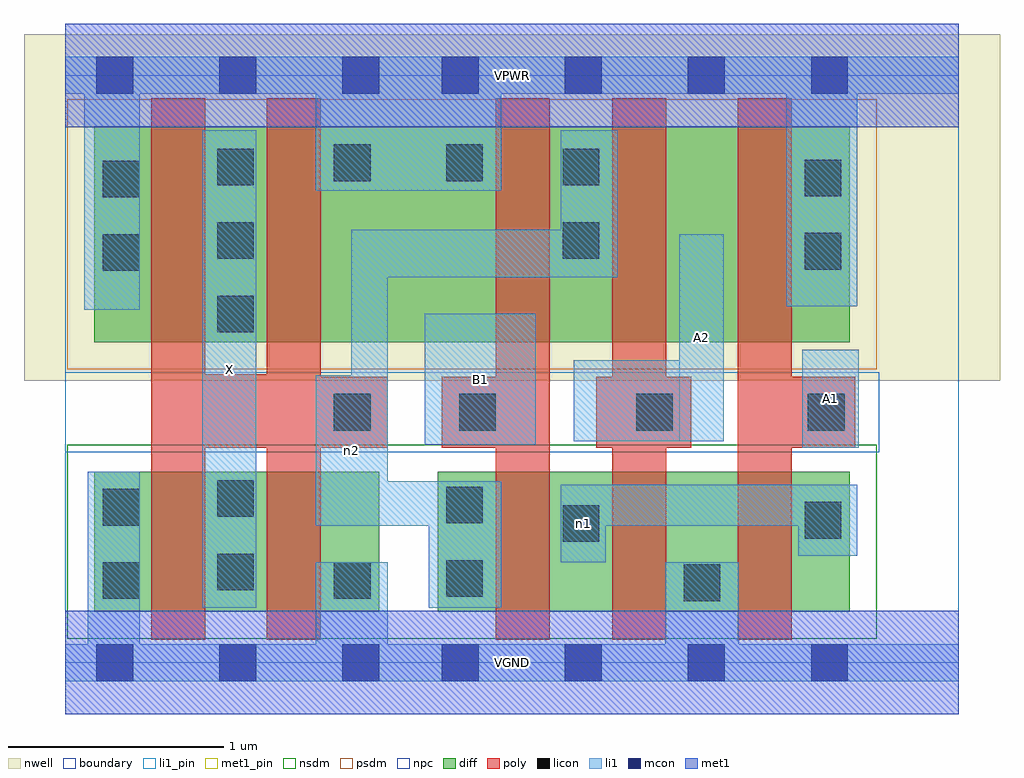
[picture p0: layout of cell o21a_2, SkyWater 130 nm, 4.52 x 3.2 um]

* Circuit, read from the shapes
.subckt o21a_2 A1 A2 B1 VGND VPWR X n1 n2
XM1 X n2 VGND VSUBS sky130_fd_pr__nfet_01v8 w=0.65 l=0.25 m=2
XM2 n1 B1 n2 VSUBS sky130_fd_pr__nfet_01v8 w=0.65 l=0.25
XM3 VGND A2 n1 VSUBS sky130_fd_pr__nfet_01v8 w=0.65 l=0.25
XM4 n1 A1 VGND VSUBS sky130_fd_pr__nfet_01v8 w=0.65 l=0.25
XM5 X n2 VPWR n3 sky130_fd_pr__pfet_01v8 w=1 l=0.25 m=2
XM6 n2 B1 VPWR n3 sky130_fd_pr__pfet_01v8 w=1 l=0.25
XM7 n4 A2 n2 n3 sky130_fd_pr__pfet_01v8 w=1 l=0.25
XM8 VPWR A1 n4 n3 sky130_fd_pr__pfet_01v8 w=1 l=0.25
.ends

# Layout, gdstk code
import gdstk
lib = gdstk.Library(unit=1e-6, precision=1e-09)
def R(c, l, rs):  # rectangles x0, y0, x1, y1
    for r in rs: c.add(gdstk.rectangle(r[:2], r[2:], *l))
def A(c, l, x, y, w, h, nx, ny, dx, dy):  # array of equal rectangles
    R(c, l, [(x+i*dx, y+j*dy, x+i*dx+w, y+j*dy+h) for i in range(nx) for j in range(ny)])
nwell = (64, 20)
diff = (65, 20)
poly = (66, 20)
licon = (66, 44)
li1_pin = (67, 16)
li1 = (67, 20)
mcon = (67, 44)
met1_pin = (68, 16)
met1 = (68, 20)
nsdm = (93, 44)
psdm = (94, 20)
npc = (95, 20)
boundary = (235, 4)

o21a_2 = lib.new_cell('o21a_2')
R(o21a_2, nwell, [(-0.19,1.305,4.33,2.91), (0,1.305,4.14,2.91)])
R(o21a_2, diff, [(0.135,0.235,1.455,0.885), (1.725,0.235,3.635,0.885), (0.135,1.485,3.635,2.485)])
R(o21a_2, poly, [(0.4,0.105,0.65,2.615), (0.935,0.105,1.185,2.615), (1.995,0.105,2.245,2.615), (2.535,0.105,2.785,2.615), (3.115,0.105,3.365,2.615), (0.4,0.995,1.495,1.325), (0.4,0.995,1.185,1.335), (1.745,0.995,2.245,1.325), (2.46,0.995,2.9,1.325), (3.115,0.995,3.66,1.325)])
A(o21a_2, licon, 0.705, 1.53, 0.17, 0.17, 1, 3, 0, 0.34)
R(o21a_2, licon, [(2.865,0.285,3.035,0.455), (0.175,0.295,0.345,0.465), (1.245,0.295,1.415,0.465), (1.765,0.305,1.935,0.475), (0.705,0.335,0.875,0.505), (2.305,0.56,2.475,0.73), (3.425,0.575,3.595,0.745), (0.175,0.635,0.345,0.805), (1.765,0.645,1.935,0.815), (0.705,0.675,0.875,0.845), (1.245,1.075,1.415,1.245), (1.825,1.075,1.995,1.245), (2.645,1.075,2.815,1.245), (3.44,1.075,3.61,1.245), (0.175,1.815,0.345,1.985), (3.425,1.82,3.595,1.99), (2.305,1.87,2.475,2.04), (0.175,2.155,0.345,2.325), (3.425,2.16,3.595,2.33), (2.305,2.21,2.475,2.38), (1.245,2.23,1.415,2.4), (1.765,2.23,1.935,2.4)])
R(o21a_2, li1_pin, [(0.635,0.255,0.885,2.465), (3.415,0.995,3.675,1.45), (1.665,1.01,2.18,1.615), (2.845,1.025,3.05,1.985)])
R(o21a_2, li1, [(0,-0.085,4.14,0.085), (0.105,-0.085,0.345,0.885), (1.16,-0.085,1.495,0.465), (2.78,-0.085,3.12,0.465), (0.635,0.255,0.885,2.465), (1.685,0.255,2.02,0.84), (2.295,0.465,2.505,0.825), (3.395,0.495,3.67,0.825), (1.16,0.635,1.495,1.33), (1.16,0.635,2.02,0.84), (1.325,0.635,1.495,2.005), (2.295,0.635,3.67,0.825), (3.415,0.995,3.675,1.45), (1.665,1.01,2.18,1.615), (2.355,1.025,3.05,1.4), (2.845,1.025,3.05,1.985), (0.09,1.635,0.345,2.805), (3.34,1.65,3.67,2.805), (1.325,1.785,2.56,2.005), (2.295,1.785,2.56,2.465), (1.16,2.185,2.02,2.805), (0,2.635,4.14,2.805)])
A(o21a_2, mcon, 0.145, -0.085, 0.17, 0.17, 3, 2, 0.57, 2.72)
A(o21a_2, mcon, 1.745, -0.085, 0.17, 0.17, 4, 2, 0.57, 2.72)
R(o21a_2, met1_pin, [(0,-0.24,4.14,0.24), (0,2.48,4.14,2.96)])
R(o21a_2, met1, [(0,-0.24,4.14,0.24), (0,2.48,4.14,2.96)])
R(o21a_2, nsdm, [(0.01,0.11,3.76,1.01)])
R(o21a_2, psdm, [(0.01,1.36,3.76,2.61)])
R(o21a_2, npc, [(0,0.975,3.77,1.345)])
R(o21a_2, boundary, [(0,0,4.14,2.72)])
o21a_2.add(gdstk.Label('A1', (3.545,1.222), layer=67, texttype=5))
o21a_2.add(gdstk.Label('A2', (2.947,1.505), layer=67, texttype=5))
o21a_2.add(gdstk.Label('B1', (1.922,1.312), layer=67, texttype=5))
o21a_2.add(gdstk.Label('X', (0.76,1.36), layer=67, texttype=5))
o21a_2.add(gdstk.Label('n1', (2.4,0.645), layer=67, texttype=5))
o21a_2.add(gdstk.Label('n2', (1.327,0.982), layer=67, texttype=5))
o21a_2.add(gdstk.Label('VPWR', (2.07,2.72), layer=68, texttype=5))
o21a_2.add(gdstk.Label('VGND', (2.07,0), layer=68, texttype=5))
o21a_2.add(gdstk.Label('A1', (3.545,1.222), layer=67, texttype=16))
o21a_2.add(gdstk.Label('A2', (2.947,1.505), layer=67, texttype=16))
o21a_2.add(gdstk.Label('B1', (1.922,1.312), layer=67, texttype=16))
o21a_2.add(gdstk.Label('X', (0.76,1.36), layer=67, texttype=16))
o21a_2.add(gdstk.Label('VPWR', (2.07,2.72), layer=68, texttype=16))
o21a_2.add(gdstk.Label('VGND', (2.07,0), layer=68, texttype=16))

lib.write_gds('o21a_2.gds')
